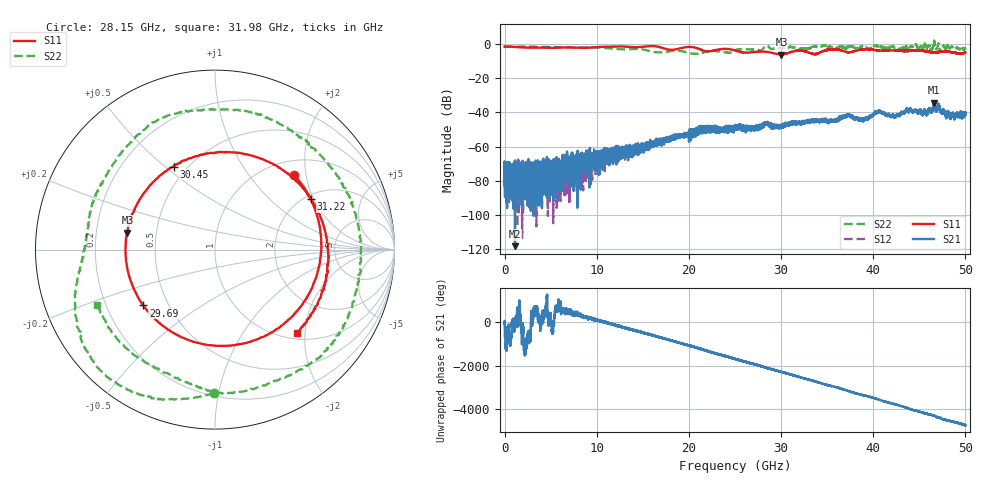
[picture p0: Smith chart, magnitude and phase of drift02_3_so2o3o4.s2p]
!Created with skrf (http://scikit-rf.org).
# Hz S RI R 50.0
!freq ReS11 ImS11 ReS21 ImS21 ReS12 ImS12 ReS22 ImS22
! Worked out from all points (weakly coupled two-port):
!   10001 points, 300 kHz to 50 GHz, reference 50 ohm
!   highest |S21| = -34.33 dB at 46.6 GHz (marker M1); lowest = -118.4 dB at 1.13 GHz (marker M2)
!   lowest |S11| = -6.1 dB at 30.05 GHz (marker M3), VSWR 2.98, Z = 16.9 + j4.27 ohm
!   |S11| at or under -10 dB: nowhere
!   |S22| runs from -5.7 to 2.2 dB; largest |S21 - S12| = 0.0038
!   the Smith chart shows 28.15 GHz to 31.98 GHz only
!   S11 on the Smith chart (normalised r, x): 28.15 GHz: 1.30, +1.71; 29.69 GHz: 0.36, -0.30; 30.45 GHz: 0.43, +0.54; 31.22 GHz: 2.16, +1.91; 31.98 GHz: 1.13, -1.81
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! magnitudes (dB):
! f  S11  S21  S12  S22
! 300 kHz  -1.3  -82.1  -70.5  -2.1
! 360.3 MHz  -1.4  -79.5  -72.2  -1.4
! 1.13 GHz  -1.6  -118.4  -78.6  -1.4
! 3.88 GHz  -2.0  -74.6  -75.0  -1.5
! 8.335 GHz  -2.2  -65.2  -72.2  -1.9
! 16.67 GHz  -1.5  -59.0  -57.5  -4.8
! 21.55 GHz  -3.6  -48.7  -51.6  -4.7
! 25 GHz  -3.7  -49.9  -48.5  -4.0
! 28.15 GHz  -4.4  -47.1  -46.7  -1.9
! 29.69 GHz  -5.9  -49.1  -49.0  -2.2
! 30.05 GHz  -6.1  -48.1  -47.6  -2.1
! 30.45 GHz  -5.8  -46.9  -47.3  -2.0
! 31.22 GHz  -4.4  -46.4  -46.1  -1.8
! 31.98 GHz  -3.7  -45.9  -46.2  -2.8
! 33.34 GHz  -5.5  -45.4  -44.9  -1.6
! 37.28 GHz  -4.7  -41.2  -41.7  -1.5
! 38.79 GHz  -3.1  -43.7  -44.2  -1.1
! 40.6 GHz  -3.6  -39.1  -39.3  -0.8
! 41.67 GHz  -3.7  -41.2  -41.2  -1.9
! 46.6 GHz  -4.7  -34.3  -34.4  1.7
! 48.54 GHz  -4.7  -41.5  -40.9  -1.5
! 50 GHz  -4.9  -40.0  -40.3  -2.6
